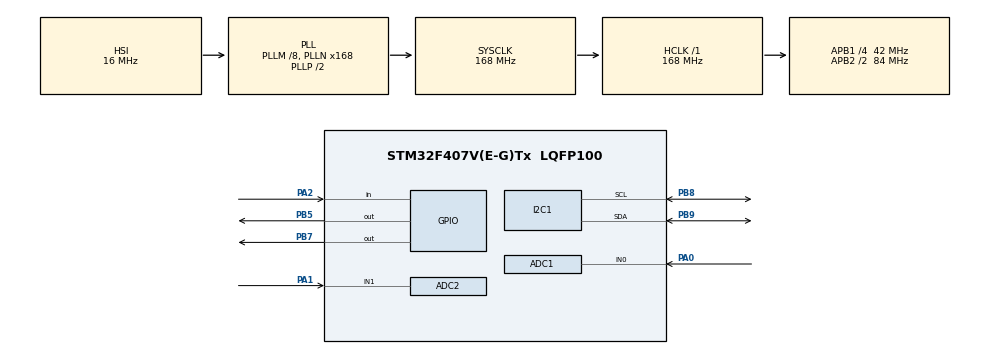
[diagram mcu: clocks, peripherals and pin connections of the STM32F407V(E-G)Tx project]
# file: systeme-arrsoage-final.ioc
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ADC1.Channel-0\#ChannelRegularConversion=ADC_CHANNEL_0
ADC1.ContinuousConvMode=ENABLE
ADC1.NbrOfConversionFlag=1
ADC1.Rank-0\#ChannelRegularConversion=1
ADC1.SamplingTime-0\#ChannelRegularConversion=ADC_SAMPLETIME_3CYCLES
ADC1.master=1
ADC2.Channel-0\#ChannelRegularConversion=ADC_CHANNEL_1
ADC2.ContinuousConvMode=ENABLE
ADC2.NbrOfConversionFlag=1
ADC2.Rank-0\#ChannelRegularConversion=1
ADC2.SamplingTime-0\#ChannelRegularConversion=ADC_SAMPLETIME_3CYCLES
Mcu.Family=STM32F4
Mcu.Name=STM32F407V(E-G)Tx
Mcu.Package=LQFP100
NVIC.PriorityGroup=NVIC_PRIORITYGROUP_4
PA0-WKUP.Signal=ADCx_IN0
PA1.Signal=ADCx_IN1
PA13.Mode=Serial_Wire
PA13.Signal=SYS_JTMS-SWDIO
PA14.Mode=Serial_Wire
PA14.Signal=SYS_JTCK-SWCLK
PA2.Signal=GPIO_Input
PB5.Signal=GPIO_Output
PB7.Signal=GPIO_Output
PB8.Mode=I2C
PB8.Signal=I2C1_SCL
PB9.Mode=I2C
PB9.Signal=I2C1_SDA
PH0-OSC_IN.Mode=HSE-External-Oscillator
PH0-OSC_IN.Signal=RCC_OSC_IN
PH1-OSC_OUT.Mode=HSE-External-Oscillator
PH1-OSC_OUT.Signal=RCC_OSC_OUT
ProjectManager.HeapSize=0x200
ProjectManager.StackSize=0x400
ProjectManager.TargetToolchain=STM32CubeIDE
RCC.48MHZClocksFreq_Value=84000000
RCC.AHBFreq_Value=168000000
RCC.APB1CLKDivider=RCC_HCLK_DIV4
RCC.APB1Freq_Value=42000000
RCC.APB1TimFreq_Value=84000000
RCC.APB2CLKDivider=RCC_HCLK_DIV2
RCC.APB2Freq_Value=84000000
RCC.APB2TimFreq_Value=168000000
RCC.CortexFreq_Value=168000000
RCC.HCLKFreq_Value=168000000
RCC.HSE_VALUE=25000000
RCC.HSI_VALUE=16000000
RCC.LSE_VALUE=32768
RCC.PLLM=8
RCC.PLLN=168
RCC.SYSCLKFreq_VALUE=168000000
RCC.SYSCLKSource=RCC_SYSCLKSOURCE_PLLCLK
RCC.VCOOutputFreq_Value=336000000
SH.ADCx_IN0.0=ADC1_IN0,IN0
SH.ADCx_IN1.0=ADC2_IN1,IN1
TIM1.Prescaler=167
VP_TIM1_VS_ClockSourceINT.Mode=Internal
board=custom

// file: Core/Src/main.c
/* USER CODE BEGIN Header */
/**
  ******************************************************************************
  * @file           : main.c
  * @brief          : Main program body
  ******************************************************************************
  * @attention
  *
  * Copyright (c) 2024 STMicroelectronics.
  * All rights reserved.
  *
  * This software is licensed under terms that can be found in the LICENSE file
  * in the root directory of this software component.
  * If no LICENSE file comes with this software, it is provided AS-IS.
  *
  ******************************************************************************
  */
/* USER CODE END Header */
#include "main.h"
#include "liquidcrystal_i2c.h"
#include"stdio.h"
char buffer[20];

/* USER CODE BEGIN Includes */
uint32_t rain_adc_value = 0;  // Valeur analogique lue depuis le capteur de pluie
uint32_t soil_adc_value = 0;  // Valeur analogique lue depuis le capteur de sol
GPIO_PinState rain_detected;   // État numérique du capteur de pluie (D0)
char* rain_status;              // Statut de la pluie ("Il pleut" ou "Pas de pluie")
float soil_humidity_percentage; // Pourcentage d'humidité du sol
float rain_humidity_percentage; // Pourcentage de pluie (capteur analogique)
char* pompe_status;

/* USER CODE END Includes */

/* USER CODE BEGIN PTD */
#define SOIL_HUMIDITY_THRESHOLD 52.0  // Seuil d'humidité en pourcentage pour activer la pompe
#define RAIN_HUMIDITY_THRESHOLD 54.0
#define RELAY_PIN GPIO_PIN_5          // Pin utilisé pour contrôler le relais
#define RELAY_PORT GPIOB              // Port utilisé pour contrôler le relais

/* USER CODE END PTD */

ADC_HandleTypeDef hadc1;
ADC_HandleTypeDef hadc2;

I2C_HandleTypeDef hi2c1;

TIM_HandleTypeDef htim1;

void SystemClock_Config(void);
static void MX_GPIO_Init(void);
static void MX_I2C1_Init(void);
static void MX_ADC1_Init(void);
static void MX_ADC2_Init(void);
static void MX_TIM1_Init(void);

/* USER CODE BEGIN 0 */
#define ADC_MAX_VALUE 4095
#define ADC_MIN_VALUE 0
#define DHT22_PORT GPIOB
#define DHT22_PIN GPIO_PIN_7
uint8_t RH1, RH2, TC1, TC2, SUM, CHECK;
uint32_t pMillis, cMillis;
float tCelsius = 0;
float tFahrenheit = 0;
float RH = 0;
// Fonction pour lire la valeur analogique du capteur de pluie
uint32_t Read_Rain_Sensor(void) {
    ADC_ChannelConfTypeDef sConfig = {0};
    sConfig.Channel = ADC_CHANNEL_0;  // Assurez-vous que le capteur est connecté sur le canal 0
    sConfig.Rank = 1;
    sConfig.SamplingTime = ADC_SAMPLETIME_3CYCLES;

    if (HAL_ADC_ConfigChannel(&hadc1, &sConfig) != HAL_OK) {
        return 0;  // Gestion d'erreur
    }

    HAL_ADC_Start(&hadc1);
    if (HAL_ADC_PollForConversion(&hadc1, HAL_MAX_DELAY) == HAL_OK) {
        return HAL_ADC_GetValue(&hadc1);
    }
    return 0;  // Gestion d'erreur
}

// Fonction pour lire la valeur analogique du capteur d'humidité du sol
uint32_t Read_Soil_Moisture_Sensor(void) {
    ADC_ChannelConfTypeDef sConfig = {0};
    sConfig.Channel = ADC_CHANNEL_1;  // Assurez-vous que le capteur est connecté sur le canal 1
    sConfig.Rank = 1;
    sConfig.SamplingTime = ADC_SAMPLETIME_3CYCLES;

    if (HAL_ADC_ConfigChannel(&hadc2, &sConfig) != HAL_OK) {
        return 0;  // Gestion d'erreur
    }

    HAL_ADC_Start(&hadc2);
    if (HAL_ADC_PollForConversion(&hadc2, HAL_MAX_DELAY) == HAL_OK) {
        return HAL_ADC_GetValue(&hadc2);
    }
    return 0;  // Gestion d'erreur
}

// Fonction pour vérifier la sortie numérique du capteur de pluie
GPIO_PinState Read_Rain_Digital(void) {
    return HAL_GPIO_ReadPin(GPIOA, GPIO_PIN_2);  // Assurez-vous que le pin est correct
}

void microDelay (uint16_t delay)
{
  __HAL_TIM_SET_COUNTER(&htim1, 0);
  while (__HAL_TIM_GET_COUNTER(&htim1) < delay);
}

uint8_t DHT22_Start (void)
{
  uint8_t Response = 0;
  GPIO_InitTypeDef GPIO_InitStructPrivate = {0};
  GPIO_InitStructPrivate.Pin = DHT22_PIN;
  GPIO_InitStructPrivate.Mode = GPIO_MODE_OUTPUT_PP;
  GPIO_InitStructPrivate.Speed = GPIO_SPEED_FREQ_LOW;
  GPIO_InitStructPrivate.Pull = GPIO_NOPULL;
  HAL_GPIO_Init(DHT22_PORT, &GPIO_InitStructPrivate); // set the pin as output
  HAL_GPIO_WritePin (DHT22_PORT, DHT22_PIN, 0);   // pull the pin low
  microDelay (1300);   // wait for 1300us
  HAL_GPIO_WritePin (DHT22_PORT, DHT22_PIN, 1);   // pull the pin high
  microDelay (30);   // wait for 30us
  GPIO_InitStructPrivate.Mode = GPIO_MODE_INPUT;
  GPIO_InitStructPrivate.Pull = GPIO_PULLUP;
  HAL_GPIO_Init(DHT22_PORT, &GPIO_InitStructPrivate); // set the pin as input
  microDelay (40);
  if (!(HAL_GPIO_ReadPin (DHT22_PORT, DHT22_PIN)))
  {
    microDelay (80);
    if ((HAL_GPIO_ReadPin (DHT22_PORT, DHT22_PIN))) Response = 1;
  }
  pMillis = HAL_GetTick();
  cMillis = HAL_GetTick();
  while ((HAL_GPIO_ReadPin (DHT22_PORT, DHT22_PIN)) && pMillis + 2 > cMillis)
  {
    cMillis = HAL_GetTick();
  }
  return Response;
}

uint8_t DHT22_Read (void)
{
  uint8_t a,b;
  for (a=0;a<8;a++)
  {
    pMillis = HAL_GetTick();
    cMillis = HAL_GetTick();
    while (!(HAL_GPIO_ReadPin (DHT22_PORT, DHT22_PIN)) && pMillis + 2 > cMillis)
    {  // wait for the pin to go high
      cMillis = HAL_GetTick();
    }
    microDelay (40);   // wait for 40 us
    if (!(HAL_GPIO_ReadPin (DHT22_PORT, DHT22_PIN)))   // if the pin is low
      b&= ~(1<<(7-a));
    else
      b|= (1<<(7-a));
    pMillis = HAL_GetTick();
    cMillis = HAL_GetTick();
    while ((HAL_GPIO_ReadPin (DHT22_PORT, DHT22_PIN)) && pMillis + 2 > cMillis)
    {  // wait for the pin to go low
      cMillis = HAL_GetTick();
    }
  }
  return b;
}

/* USER CODE END 0 */

int main(void)
{

  /* MCU Configuration--------------------------------------------------------*/

  /* Reset of all peripherals, Initializes the Flash interface and the Systick. */
  HAL_Init();

  /* Configure the system clock */
  SystemClock_Config();

  /* Initialize all configured peripherals */
  MX_GPIO_Init();
  MX_I2C1_Init();
  MX_ADC1_Init();
  MX_ADC2_Init();
  MX_TIM1_Init();
  HAL_TIM_Base_Start(&htim1);

  /* USER CODE BEGIN 2 */
  HD44780_Init(2);
    HD44780_Clear();
    HD44780_SetCursor(0,0);
    HD44780_PrintStr("SYSTEME D'ARROSAGE");
    HD44780_SetCursor(10,1);
    HD44780_PrintStr("24-25");
    HAL_Delay(2000);
    HD44780_Clear();

  /* USER CODE END 2 */

  /* Infinite loop */
  while (1)
  {
	  if(DHT22_Start())
	 			  	      {
	 			  	        RH1 = DHT22_Read(); // First 8bits of humidity
	 			  	        RH2 = DHT22_Read(); // Second 8bits of Relative humidity
	 			  	        TC1 = DHT22_Read(); // First 8bits of Celsius
	 			  	        TC2 = DHT22_Read(); // Second 8bits of Celsius
	 			  	        SUM = DHT22_Read(); // Check sum
	 			  	        CHECK = RH1 + RH2 + TC1 + TC2;
	 			  	        if (CHECK == SUM)
	 			  	        {
	 			  	          if (TC1>127) // If TC1=10000000, negative temperature
	 			  	          {
	 			  	            tCelsius = (float)TC2/10*(-1);
	 			  	          }
	 			  	          else
	 			  	          {
	 			  	            tCelsius = (float)((TC1<<8)|TC2)/10;
	 			  	          }
	 			  	          tFahrenheit = tCelsius * 9/5 + 32;
	 			  	          RH = (float) ((RH1<<8)|RH2)/10;
	 			  	        }
	 			  	      }
		// Affichage de la température sur l'afficheur
		 			HD44780_SetCursor(0, 0);
		 			sprintf(buffer, "Temp=%.2f", tCelsius);  // Convertir le float en string avec 2 décimales
		 			HD44780_PrintStr(buffer);  // Afficher la chaîne

		 			 			  	// Affichage de l'humidité sur l'afficheur
		 			 HD44780_SetCursor(0, 1);   // Passer à la ligne suivante sur l'afficheur
		 			 sprintf(buffer, "Humidity=%.2f", RH);    // Convertir le float en string avec 2 décimales
		 			 HD44780_PrintStr(buffer);  // Afficher la chaîne
	 			  	 HAL_Delay(1000);

	 			  	     // HAL_Delay(2000);
	 			      /* USER CODE END WHILE */
	 			  	     // Lire la valeur analogique du capteur de pluie
	 			  	      rain_adc_value = Read_Rain_Sensor();  // Appeler la fonction pour le capteur de pluie

	 			  	      // Lire la valeur analogique du capteur de sol
	 			  	      soil_adc_value = Read_Soil_Moisture_Sensor();  // Appeler la fonction pour le capteur de sol

	 			  	      // Lire la sortie numérique (D0) pour la détection de pluie
	 			  	      rain_detected = Read_Rain_Digital();

	 			  	      // Déterminer l'état de pluie
	 			  	      if (rain_detected == GPIO_PIN_RESET) {
	 			  	          rain_status = "Il pleut";  // Niveau bas, il pleut
	 			  	      } else {
	 			  	          rain_status = "Pas de pluie";  // Niveau haut, pas de pluie
	 			  	      }

	 			  	    // Calculer les pourcentages d'humidité du sol et de pluie
	 			  	    soil_humidity_percentage = (float)(soil_adc_value * 100) / 4095;
	 			  	    rain_humidity_percentage = (float)(rain_adc_value * 100) / 4095;

	 			  	  // Logic to control the pump
	 			  	  if ((soil_humidity_percentage < SOIL_HUMIDITY_THRESHOLD) && (rain_humidity_percentage > RAIN_HUMIDITY_THRESHOLD)) {
	 			  	      // Si le sol est sec et qu'il pleut, activer la pompe
	 			  	      HAL_GPIO_WritePin(RELAY_PORT, RELAY_PIN, GPIO_PIN_SET);
	 			  	      pompe_status = "Pompe  ne Fonctionne pas (sol Humide et  pas de pluie)";
	 			  	  } else if ((soil_humidity_percentage > SOIL_HUMIDITY_THRESHOLD) && (rain_humidity_percentage < RAIN_HUMIDITY_THRESHOLD)) {
	 			  	      // Si le sol est humide et qu'il ne pleut pas, activer la pompe
	 			  	      HAL_GPIO_WritePin(RELAY_PORT, RELAY_PIN, GPIO_PIN_SET);
	 			  	      pompe_status = "Pompe ne Fonctionne pas (sol sec et pluie)";
	 			  	  } else if ((soil_humidity_percentage > SOIL_HUMIDITY_THRESHOLD) && (rain_humidity_percentage > RAIN_HUMIDITY_THRESHOLD)) {
	 			  	      // Si le sol est humide et qu'il pleut, désactiver la pompe
	 			  	      HAL_GPIO_WritePin(RELAY_PORT, RELAY_PIN, GPIO_PIN_RESET);
	 			  	      pompe_status = "Pompe Fonctionne (sol sec et pluie)";
	 			  	  } else {
	 			  	      // Désactiver la pompe dans tous les autres cas
	 			  	      HAL_GPIO_WritePin(RELAY_PORT, RELAY_PIN, GPIO_PIN_RESET);
	 			  	      pompe_status = "Pompe Ne Fonctionne Pas";
	 			  	  }

	 			  	    HAL_Delay(1000);

  }
}

void SystemClock_Config(void)
{
  RCC_OscInitTypeDef RCC_OscInitStruct = {0};
  RCC_ClkInitTypeDef RCC_ClkInitStruct = {0};

  /** Configure the main internal regulator output voltage
  */
  __HAL_RCC_PWR_CLK_ENABLE();
  __HAL_PWR_VOLTAGESCALING_CONFIG(PWR_REGULATOR_VOLTAGE_SCALE1);

  /** Initializes the RCC Oscillators according to the specified parameters
  * in the RCC_OscInitTypeDef structure.
  */
  RCC_OscInitStruct.OscillatorType = RCC_OSCILLATORTYPE_HSI;
  RCC_OscInitStruct.HSIState = RCC_HSI_ON;
  RCC_OscInitStruct.HSICalibrationValue = RCC_HSICALIBRATION_DEFAULT;
  RCC_OscInitStruct.PLL.PLLState = RCC_PLL_ON;
  RCC_OscInitStruct.PLL.PLLSource = RCC_PLLSOURCE_HSI;
  RCC_OscInitStruct.PLL.PLLM = 8;
  RCC_OscInitStruct.PLL.PLLN = 168;
  RCC_OscInitStruct.PLL.PLLP = RCC_PLLP_DIV2;
  RCC_OscInitStruct.PLL.PLLQ = 4;
  if (HAL_RCC_OscConfig(&RCC_OscInitStruct) != HAL_OK)
  {
    Error_Handler();
  }

  /** Initializes the CPU, AHB and APB buses clocks
  */
  RCC_ClkInitStruct.ClockType = RCC_CLOCKTYPE_HCLK|RCC_CLOCKTYPE_SYSCLK
                              |RCC_CLOCKTYPE_PCLK1|RCC_CLOCKTYPE_PCLK2;
  RCC_ClkInitStruct.SYSCLKSource = RCC_SYSCLKSOURCE_PLLCLK;
  RCC_ClkInitStruct.AHBCLKDivider = RCC_SYSCLK_DIV1;
  RCC_ClkInitStruct.APB1CLKDivider = RCC_HCLK_DIV4;
  RCC_ClkInitStruct.APB2CLKDivider = RCC_HCLK_DIV2;

  if (HAL_RCC_ClockConfig(&RCC_ClkInitStruct, FLASH_LATENCY_5) != HAL_OK)
  {
    Error_Handler();
  }
}

static void MX_ADC1_Init(void)
{

  ADC_ChannelConfTypeDef sConfig = {0};

  /** Configure the global features of the ADC (Clock, Resolution, Data Alignment and number of conversion)
  */
  hadc1.Instance = ADC1;
  hadc1.Init.ClockPrescaler = ADC_CLOCK_SYNC_PCLK_DIV4;
  hadc1.Init.Resolution = ADC_RESOLUTION_12B;
  hadc1.Init.ScanConvMode = DISABLE;
  hadc1.Init.ContinuousConvMode = ENABLE;
  hadc1.Init.DiscontinuousConvMode = DISABLE;
  hadc1.Init.ExternalTrigConvEdge = ADC_EXTERNALTRIGCONVEDGE_NONE;
  hadc1.Init.ExternalTrigConv = ADC_SOFTWARE_START;
  hadc1.Init.DataAlign = ADC_DATAALIGN_RIGHT;
  hadc1.Init.NbrOfConversion = 1;
  hadc1.Init.DMAContinuousRequests = DISABLE;
  hadc1.Init.EOCSelection = ADC_EOC_SINGLE_CONV;
  if (HAL_ADC_Init(&hadc1) != HAL_OK)
  {
    Error_Handler();
  }

  /** Configure for the selected ADC regular channel its corresponding rank in the sequencer and its sample time.
  */
  sConfig.Channel = ADC_CHANNEL_0;
  sConfig.Rank = 1;
  sConfig.SamplingTime = ADC_SAMPLETIME_3CYCLES;
  if (HAL_ADC_ConfigChannel(&hadc1, &sConfig) != HAL_OK)
  {
    Error_Handler();
  }

}

static void MX_ADC2_Init(void)
{

  ADC_ChannelConfTypeDef sConfig = {0};

  /** Configure the global features of the ADC (Clock, Resolution, Data Alignment and number of conversion)
  */
  hadc2.Instance = ADC2;
  hadc2.Init.ClockPrescaler = ADC_CLOCK_SYNC_PCLK_DIV4;
  hadc2.Init.Resolution = ADC_RESOLUTION_12B;
  hadc2.Init.ScanConvMode = DISABLE;
  hadc2.Init.ContinuousConvMode = ENABLE;
  hadc2.Init.DiscontinuousConvMode = DISABLE;
  hadc2.Init.ExternalTrigConvEdge = ADC_EXTERNALTRIGCONVEDGE_NONE;
  hadc2.Init.ExternalTrigConv = ADC_SOFTWARE_START;
  hadc2.Init.DataAlign = ADC_DATAALIGN_RIGHT;
  hadc2.Init.NbrOfConversion = 1;
  hadc2.Init.DMAContinuousRequests = DISABLE;
  hadc2.Init.EOCSelection = ADC_EOC_SINGLE_CONV;
  if (HAL_ADC_Init(&hadc2) != HAL_OK)
  {
    Error_Handler();
  }

  /** Configure for the selected ADC regular channel its corresponding rank in the sequencer and its sample time.
  */
  sConfig.Channel = ADC_CHANNEL_1;
  sConfig.Rank = 1;
  sConfig.SamplingTime = ADC_SAMPLETIME_3CYCLES;
  if (HAL_ADC_ConfigChannel(&hadc2, &sConfig) != HAL_OK)
  {
    Error_Handler();
  }

}

static void MX_I2C1_Init(void)
{

  hi2c1.Instance = I2C1;
  hi2c1.Init.ClockSpeed = 100000;
  hi2c1.Init.DutyCycle = I2C_DUTYCYCLE_2;
  hi2c1.Init.OwnAddress1 = 0;
  hi2c1.Init.AddressingMode = I2C_ADDRESSINGMODE_7BIT;
  hi2c1.Init.DualAddressMode = I2C_DUALADDRESS_DISABLE;
  hi2c1.Init.OwnAddress2 = 0;
  hi2c1.Init.GeneralCallMode = I2C_GENERALCALL_DISABLE;
  hi2c1.Init.NoStretchMode = I2C_NOSTRETCH_DISABLE;
  if (HAL_I2C_Init(&hi2c1) != HAL_OK)
  {
    Error_Handler();
  }

}

static void MX_TIM1_Init(void)
{

  TIM_ClockConfigTypeDef sClockSourceConfig = {0};
  TIM_MasterConfigTypeDef sMasterConfig = {0};

  htim1.Instance = TIM1;
  htim1.Init.Prescaler = 167;
  htim1.Init.CounterMode = TIM_COUNTERMODE_UP;
  htim1.Init.Period = 65535;
  htim1.Init.ClockDivision = TIM_CLOCKDIVISION_DIV1;
  htim1.Init.RepetitionCounter = 0;
  htim1.Init.AutoReloadPreload = TIM_AUTORELOAD_PRELOAD_DISABLE;
  if (HAL_TIM_Base_Init(&htim1) != HAL_OK)
  {
    Error_Handler();
  }
  sClockSourceConfig.ClockSource = TIM_CLOCKSOURCE_INTERNAL;
  if (HAL_TIM_ConfigClockSource(&htim1, &sClockSourceConfig) != HAL_OK)
  {
    Error_Handler();
  }
  sMasterConfig.MasterOutputTrigger = TIM_TRGO_RESET;
  sMasterConfig.MasterSlaveMode = TIM_MASTERSLAVEMODE_DISABLE;
  if (HAL_TIMEx_MasterConfigSynchronization(&htim1, &sMasterConfig) != HAL_OK)
  {
    Error_Handler();
  }

}

static void MX_GPIO_Init(void)
{
  GPIO_InitTypeDef GPIO_InitStruct = {0};

  /* GPIO Ports Clock Enable */
  __HAL_RCC_GPIOH_CLK_ENABLE();
  __HAL_RCC_GPIOA_CLK_ENABLE();
  __HAL_RCC_GPIOB_CLK_ENABLE();

  /*Configure GPIO pin Output Level */
  HAL_GPIO_WritePin(GPIOB, GPIO_PIN_5|GPIO_PIN_7, GPIO_PIN_RESET);

  /*Configure GPIO pin : PA2 */
  GPIO_InitStruct.Pin = GPIO_PIN_2;
  GPIO_InitStruct.Mode = GPIO_MODE_INPUT;
  GPIO_InitStruct.Pull = GPIO_NOPULL;
  HAL_GPIO_Init(GPIOA, &GPIO_InitStruct);

  /*Configure GPIO pins : PB5 PB7 */
  GPIO_InitStruct.Pin = GPIO_PIN_5|GPIO_PIN_7;
  GPIO_InitStruct.Mode = GPIO_MODE_OUTPUT_PP;
  GPIO_InitStruct.Pull = GPIO_NOPULL;
  GPIO_InitStruct.Speed = GPIO_SPEED_FREQ_LOW;
  HAL_GPIO_Init(GPIOB, &GPIO_InitStruct);

}

void Error_Handler(void)
{
  __disable_irq();
  while (1)
  {
  }
}
